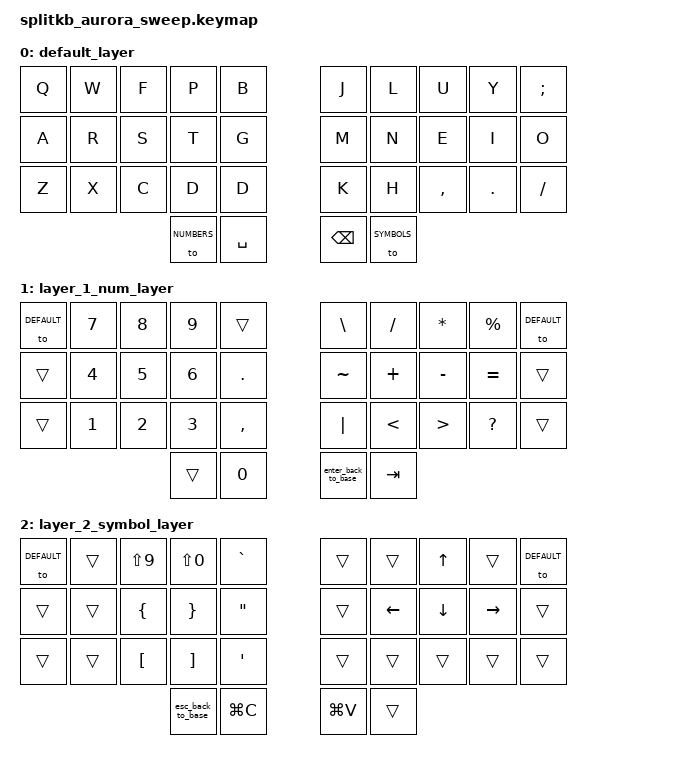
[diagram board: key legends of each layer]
/*
 * Copyright (c) 2022 The ZMK Contributors
 *
 * SPDX-License-Identifier: MIT
 */

#include <behaviors.dtsi>
#include <dt-bindings/zmk/keys.h>
#include <dt-bindings/zmk/bt.h>

#define DEFAULT 0
#define NUMBERS 1
#define SYMBOLS 2

&mt {
  //  flavor = "tap-preferred";
   // tapping_term_ms = <200>;
};

/ {
    macros {
        enter_back_to_base: enter_back_to_base {
            compatible = "zmk,behavior-macro";
            #binding-cells = <0>;
            bindings
                = <&macro_tap &kp ENTER>
                , <&to 0>
                ;
        };
        esc_back_to_base: esc_back_to_base {
            compatible = "zmk,behavior-macro";
            #binding-cells = <0>;
            bindings
                = <&macro_tap &kp ESCAPE>
                , <&to 0>
                ;
        };
    };

    combos {
        compatible = "zmk,combos";
        combo_esc {
            timeout-ms = <50>;
            key-positions = <0 1>;
            bindings = <&kp ESC>;
        };

        combo_tab {
            timeout-ms = <50>;
            key-positions = <10 11>;
            bindings = <&kp TAB>;
        };

        combo_ralt {
            timeout-ms = <50>;
            key-positions = <17 16>;
            bindings = <&kp RALT>;
        };

        combo_lalt {
            timeout-ms = <50>;
            key-positions = <11 12>;
            bindings = <&kp LALT>;
        };

        combo_lgui {
            timeout-ms = <50>;
            key-positions = <12 13>;
            bindings = <&kp LGUI>;
        };


        combo_rgui {
             timeout-ms = <50>;
             key-positions = <17 18>;
             bindings = <&kp RGUI>;
        };
    };

    keymap {
        compatible = "zmk,keymap";

        
        default_layer {
        bindings = <
        &kp Q &kp W &kp F &kp P &kp B                                  &kp J &kp L &kp U &kp Y &kp SEMICOLON
        &kp A &kp R &kp S &kp T &kp G                                  &kp M &kp N &kp E &kp I &kp O
        &kp Z &kp X &kp C &kp D &kp D                                  &kp K &kp H &kp COMMA &kp DOT &kp SLASH
        &to NUMBERS &kp SPACE                                          &kp BACKSPACE &to SYMBOLS
        >;
        };

        layer_1_num_layer {
        bindings = <
        &to DEFAULT &kp NUMBER_7 &kp NUMBER_8 &kp NUMBER_9 &trans                        &kp BACKSLASH &kp SLASH &kp STAR &kp PERCENT &to DEFAULT
        &trans      &kp NUMBER_4 &kp NUMBER_5 &kp NUMBER_6 &kp DOT                       &kp TILDE &kp PLUS &kp MINUS &kp EQUAL &trans 
        &trans      &kp NUMBER_1 &kp NUMBER_2 &kp NUMBER_3 &kp COMMA                     &kp PIPE &kp LT &kp GT &kp QUESTION &trans
        &trans &kp NUMBER_0                                                              &enter_back_to_base &kp TAB
        >;
        };
        layer_2_symbol_layer {
        bindings = <
        &to DEFAULT &trans   &kp LS(NUMBER_9) &kp LS(NUMBER_0)   &kp GRAVE                  &trans &trans &kp UP &trans &to DEFAULT
        &trans &trans        &kp LEFT_BRACE &kp RIGHT_BRACE      &kp DOUBLE_QUOTES          &trans &kp LEFT &kp DOWN &kp RIGHT &trans 
        // TODO: navigation for TMUX and VIM
        &trans &trans        &kp LEFT_BRACKET &kp RIGHT_BRACKET  &kp SINGLE_QUOTE           &trans &trans &trans &trans &trans
        &esc_back_to_base &kp LG(C)                                                         &kp LG(V) &trans

        >;
        };
    };
};
